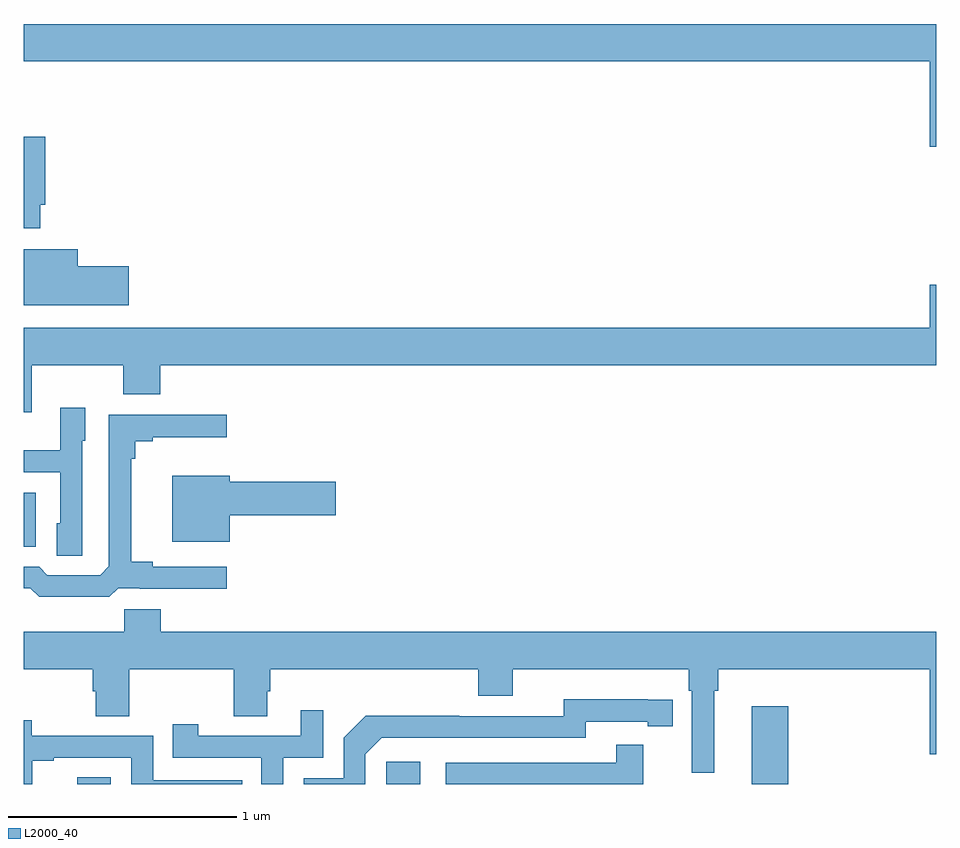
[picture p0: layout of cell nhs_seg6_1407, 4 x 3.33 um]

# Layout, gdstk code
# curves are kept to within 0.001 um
import gdstk
lib = gdstk.Library(unit=1e-6, precision=1e-09)
def R(c, l, rs):  # rectangles x0, y0, x1, y1
    for r in rs: c.add(gdstk.rectangle(r[:2], r[2:], *l))
def P(c, l, *ps):  # polygons
    for p in ps: c.add(gdstk.Polygon(p, *l))
L2000_40 = (2000, 40)

nhs_seg6_1407 = lib.new_cell('nhs_seg6_1407')
R(nhs_seg6_1407, L2000_40, [(197.235,945.5,197.382,945.529), (198.588,945.5,198.739,945.598), (200.192,945.5,200.351,945.841), (197,946.541,197.053,946.777)])
P(nhs_seg6_1407, L2000_40, [(201,948.832),(197,948.832),(197,948.668),(200.972,948.668),(200.972,948.294),(201,948.294)],
  [(197.073,948.04),(197.093,948.04),(197.093,948.337),(197,948.337),(197,947.936),(197.073,947.936)],
  [(197.461,947.771),(197.236,947.771),(197.236,947.845),(197,947.845),(197,947.6),(197.461,947.6)],
  [(197.035,947.336),(197.435,947.336),(197.435,947.208),(197.599,947.208),(197.599,947.336),(201,947.336),(201,947.689),(200.972,947.689),(200.972,947.5),(197,947.5),(197,947.13),(197.035,947.13)],
  [(197.256,947.004),(197.269,947.004),(197.269,947.149),(197.16,947.149),(197.16,946.963),(197,946.963),(197,946.866),(197.16,946.866),(197.16,946.644),(197.144,946.644),(197.144,946.501),(197.256,946.501)],
  [(197.415,946.359),(197.509,946.359),(197.509,946.355),(197.89,946.355),(197.89,946.452),(197.566,946.452),(197.566,946.475),(197.471,946.475),(197.471,946.925),(197.489,946.925),(197.489,947.002),(197.566,947.002),(197.566,947.021),(197.89,947.021),(197.89,947.118),(197.373,947.118),(197.373,946.455),(197.334,946.416),(197.103,946.416),(197.067,946.452),(197,946.452),(197,946.359),(197.028,946.359),(197.068,946.32),(197.375,946.32)],
  [(197.902,946.679),(198.367,946.679),(198.367,946.826),(197.902,946.826),(197.902,946.852),(197.651,946.852),(197.651,946.562),(197.902,946.562)],
  [(200.026,945.908),(200.045,945.908),(200.045,946.004),(200.972,946.004),(200.972,945.63),(201,945.63),(201,946.168),(197.6,946.168),(197.6,946.266),(197.44,946.266),(197.44,946.168),(197,946.168),(197,946.004),(197.303,946.004),(197.303,945.906),(197.315,945.906),(197.315,945.796),(197.463,945.796),(197.463,946.004),(197.92,946.004),(197.92,945.796),(198.067,945.796),(198.067,945.906),(198.08,945.906),(198.08,946.004),(198.992,946.004),(198.992,945.887),(199.144,945.887),(199.144,946.004),(199.916,946.004),(199.916,945.908),(199.929,945.908),(199.929,945.549),(200.026,945.549)],
  [(198.498,945.63),(198.57,945.702),(199.464,945.702),(199.464,945.774),(199.736,945.774),(199.736,945.754),(199.844,945.754),(199.844,945.87),(199.368,945.871),(199.368,945.798),(198.908,945.798),(198.908,945.8),(198.5,945.8),(198.402,945.702),(198.402,945.525),(198.228,945.525),(198.228,945.5),(198.498,945.5)],
  [(198.138,945.615),(198.312,945.615),(198.312,945.823),(198.215,945.823),(198.215,945.711),(197.764,945.711),(197.764,945.763),(197.653,945.763),(197.653,945.615),(198.042,945.615),(198.042,945.5),(198.138,945.5)],
  [(197.036,945.603),(197.131,945.603),(197.131,945.615),(197.472,945.615),(197.472,945.5),(197.957,945.5),(197.957,945.516),(197.568,945.516),(197.568,945.711),(197.034,945.711),(197.034,945.78),(197,945.78),(197,945.5),(197.036,945.5)],
  [(199.715,945.673),(199.597,945.673),(199.597,945.594),(198.849,945.594),(198.849,945.5),(199.715,945.5)])

lib.write_gds('nhs_seg6_1407.gds')
